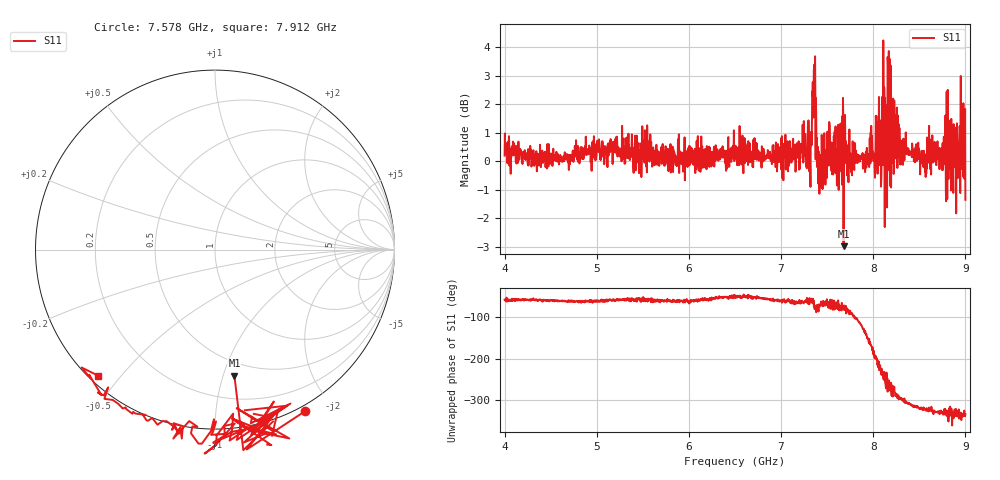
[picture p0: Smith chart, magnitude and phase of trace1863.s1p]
! Created with skrf 1.8.0 (http://scikit-rf.org).
# Hz S RI R 50.0
!freq ReS11 ImS11
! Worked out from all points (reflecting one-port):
!   1601 points, 4 GHz to 9 GHz, reference 50 ohm
!   lowest |S11| = -3.0 dB at 7.678 GHz (marker M1), VSWR 5.90, Z = 19.2 - j54.5 ohm
!   phase of S11 starts at -57 deg and turns -277 deg over the sweep
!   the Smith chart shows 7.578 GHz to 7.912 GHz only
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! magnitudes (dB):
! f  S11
! 4 GHz  0.2
! 4.625 GHz  0.0
! 5.25 GHz  0.2
! 5.875 GHz  0.1
! 6.5 GHz  0.3
! 7.125 GHz  0.4
! 7.244 GHz  0.1
! 7.294 GHz  0.1
! 7.356 GHz  3.2
! 7.381 GHz  1.6
! 7.4 GHz  0.5
! 7.428 GHz  -0.6
! 7.512 GHz  0.9
! 7.609 GHz  0.4
! 7.678 GHz  -3.0
! 7.75 GHz  -0.1
! 8 GHz  0.3
! 8.178 GHz  3.6
! 8.209 GHz  1.0
! 8.375 GHz  0.4
! 8.556 GHz  -0.2
! 8.609 GHz  0.2
! 8.766 GHz  0.9
! 8.819 GHz  0.4
! 8.919 GHz  -0.2
! 8.956 GHz  0.1
! 8.972 GHz  0.9
! 9 GHz  -1.3
